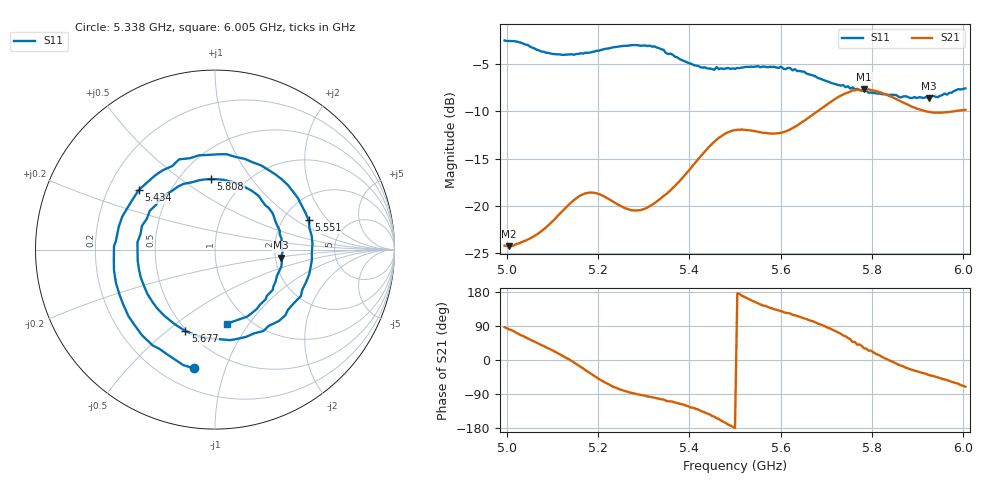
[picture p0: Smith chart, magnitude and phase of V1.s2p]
!File created by NanoVNA
# Hz S RI R 50
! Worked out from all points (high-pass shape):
!   201 points, 4.995 GHz to 6.005 GHz, reference 50 ohm
!   highest |S21| = -7.66 dB at 5.783 GHz (marker M1); lowest = -24.2 dB at 5.005 GHz (marker M2)
!   |S21| within 3 dB of the highest: 5.662 GHz to end of sweep
!   lowest |S11| = -8.6 dB at 5.924 GHz (marker M3), VSWR 2.17, Z = 107 - j11.3 ohm
!   |S11| at or under -10 dB: nowhere
!   S12 and S22 are empty: the file has one direction only
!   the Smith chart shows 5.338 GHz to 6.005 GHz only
!   S11 on the Smith chart (normalised r, x): 5.338 GHz: 0.33, -0.78; 5.434 GHz: 0.33, +0.31; 5.551 GHz: 2.75, +1.28; 5.677 GHz: 0.49, -0.58; 5.808 GHz: 0.70, +0.66; 6.005 GHz: 0.80, -0.79
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4.995e9  0.2252 -0.7128  0.0038 0.0616  0 0  0 0
5.0051e9  0.0842 -0.7385  0.00982 0.0606  0 0  0 0
5.0455e9  -0.4779 -0.5223  0.0362 0.0557  0 0  0 0
5.08085e9  -0.649 -0.062  0.06 0.0454  0 0  0 0
5.1263e9  -0.3875 0.4949  0.0954 0.0138  0 0  0 0
5.1667e9  0.0895 0.6309  0.1069 -0.0429  0 0  0 0
5.25255e9  0.6937 -0.0828  0.0186 -0.0974  0 0  0 0
5.33335e9  -0.0367 -0.6805  -0.0227 -0.1054  0 0  0 0
5.3384e9  -0.1185 -0.661  -0.0258 -0.1071  0 0  0 0
5.3889e9  -0.5519 -0.1852  -0.0688 -0.1268  0 0  0 0
5.43435e9  -0.4255 0.3309  -0.1461 -0.1283  0 0  0 0
5.5e9  0.2079 0.4872  -0.251 -0.00342  0 0  0 0
5.5505e9  0.5222 0.163  -0.212 0.1251  0 0  0 0
5.601e9  0.4783 -0.2588  -0.1532 0.1892  0 0  0 0
5.6717e9  -0.1117 -0.4751  -0.0625 0.2982  0 0  0 0
5.67675e9  -0.1645 -0.4539  -0.0488 0.3069  0 0  0 0
5.72725e9  -0.4307 -0.0619  0.1177 0.358  0 0  0 0
5.7828e9  -0.2045 0.3521  0.3562 0.2111  0 0  0 0
5.80805e9  -0.0217 0.3935  0.3878 0.1157  0 0  0 0
5.83835e9  0.1681 0.3468  0.3807 -0.00819  0 0  0 0
5.9242e9  0.3668 -0.0455  0.2427 -0.1997  0 0  0 0
6.005e9  0.069 -0.4117  0.1077 -0.3032  0 0  0 0
